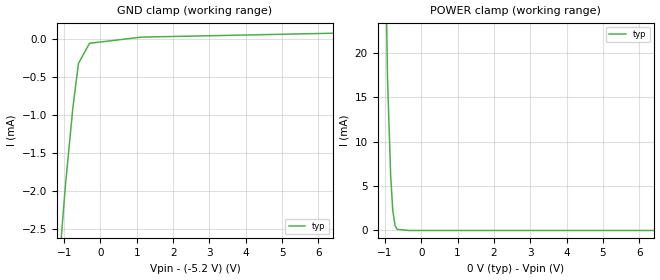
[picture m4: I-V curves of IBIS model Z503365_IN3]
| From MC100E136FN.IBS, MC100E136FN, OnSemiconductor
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| (C) COPYRIGHT 1993-2000
| MENTOR GRAPHICS CORPORATION
| ICX STANDARD LIBRARY, ICX PROJECT MODELING,
| ICX CUSTOM MODELING, ICX VENDOR MODEL
| ALL RIGHTS RESERVED.
| THE FOLLOWING ARE TRADEMARKS OR SERVICE MARKS OF
| MENTOR GRAPHICS CORPORATION:ICX (R), ICX STANDARD
| LIBRARY(R), ICX PROJECT MODELING(R), ICX CUSTOM
| MODELING(R), qualityIBIS(TM), MODELVIEWER(TM),
| AND MODELEDITOR(TM)
| ALL COPIES OF SOFTWARE, INCLUDING BUT NOT LIMITED TO
| ANY MODIFICATIONS, ENHANCEMENTS OR DERIVATIVE WORKS,
| MUST CONTAIN ALL MENTOR GRAPHICS CORPORATION'S
| NOTICES AND LEGENDS, INCLUDING THOSE EMBEDDED IN
| SOFTWARE AND THOSE AFFIXED TO SOFTWARE MEDIUM
| AND CONTAINER, AS RECEIVED FROM MENTOR GRAPHICS
| CORPORATION.
| Model Application Version 1.89 2/18/99.
[Model] Z503365_IN3
Model_type Input_ECL
Vinl = -1.475V
Vinh = -1.165V
C_comp 4.000pF NA NA
| variable typ   min   max
[Voltage Range] -5.200V NA NA
[GND Clamp Reference] -5.200V NA NA
[POWER Clamp Reference] 0.000V NA NA
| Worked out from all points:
|   GND clamp passes 1 mA (typ) near -0.78 V on its own axis
|   POWER clamp passes 1 mA (typ) near -0.74 V on its own axis
[GND Clamp]
-5.2V     -45.16mA   NA         NA
-1.396V   -5.066mA   NA         NA
-1.284V   -4.088mA   NA         NA
-1.097V   -2.713mA   NA         NA
-968mV    -1.938mA   NA         NA
-760mV    -905.7uA   NA         NA
-606mV    -326.2uA   NA         NA
-303mV    -62.53uA   NA         NA
1.128V    18.22uA    NA         NA
10.4V     108.1uA    NA         NA
[POWER Clamp]
-5.2V     1.717A     NA         NA
-1.06V    52.16mA    NA         NA
-931.4mV  17.32mA    NA         NA
-843.7mV  6.23mA     NA         NA
-786mV    2.283mA    NA         NA
-722.1mV  540.8uA    NA         NA
-665.4mV  125.6uA    NA         NA
-332.7mV  0A         NA         NA
10.4V     0A         NA         NA
